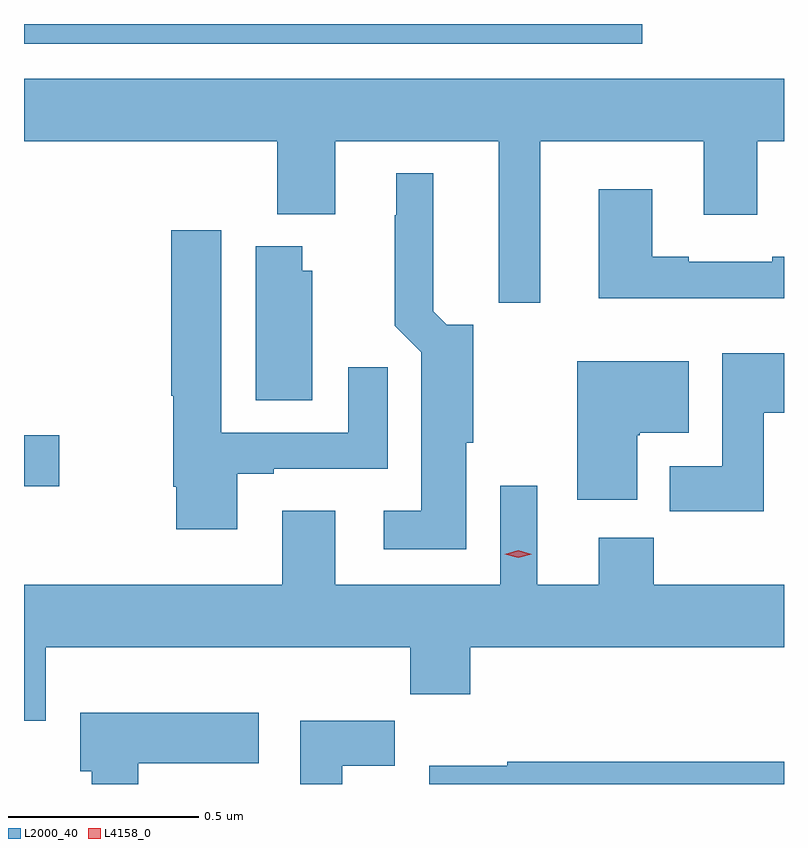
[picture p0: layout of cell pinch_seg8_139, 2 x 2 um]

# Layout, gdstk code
import gdstk
lib = gdstk.Library(unit=1e-6, precision=1e-09)
def R(c, l, rs):  # rectangles x0, y0, x1, y1
    for r in rs: c.add(gdstk.rectangle(r[:2], r[2:], *l))
def P(c, l, *ps):  # polygons
    for p in ps: c.add(gdstk.Polygon(p, *l))
L2000_40 = (2000, 40)
L4158_0 = (4158, 0)

pinch_seg8_139 = lib.new_cell('pinch_seg8_139')
R(pinch_seg8_139, L2000_40, [(809.662,1136.903,809.755,1137.038), (809.662,1138.068,811.289,1138.12)])
P(pinch_seg8_139, L2000_40, [(811.021,1137.812),(811.451,1137.812),(811.451,1137.618),(811.591,1137.618),(811.591,1137.812),(811.662,1137.812),(811.662,1137.976),(809.662,1137.976),(809.662,1137.812),(810.329,1137.812),(810.329,1137.62),(810.481,1137.62),(810.481,1137.812),(810.911,1137.812),(810.911,1137.387),(811.021,1137.387)],
  [(810.826,1137.018),(810.844,1137.018),(810.844,1137.328),(810.774,1137.328),(810.739,1137.364),(810.739,1137.727),(810.641,1137.727),(810.641,1137.617),(810.637,1137.617),(810.637,1137.326),(810.707,1137.256),(810.707,1136.839),(810.609,1136.839),(810.609,1136.738),(810.826,1136.738)],
  [(811.662,1137.508),(811.631,1137.508),(811.631,1137.495),(811.411,1137.495),(811.411,1137.508),(811.315,1137.508),(811.315,1137.685),(811.175,1137.685),(811.175,1137.398),(811.662,1137.398)],
  [(810.223,1136.937),(810.319,1136.937),(810.319,1136.949),(810.619,1136.949),(810.619,1137.217),(810.515,1137.217),(810.515,1137.045),(810.181,1137.045),(810.181,1137.577),(810.05,1137.577),(810.05,1137.142),(810.055,1137.142),(810.055,1136.902),(810.062,1136.902),(810.062,1136.79),(810.223,1136.79)],
  [(810.421,1137.471),(810.394,1137.471),(810.394,1137.535),(810.272,1137.535),(810.272,1137.13),(810.421,1137.13)],
  [(811.609,1137.097),(811.662,1137.097),(811.662,1137.253),(811.499,1137.253),(811.499,1136.956),(811.361,1136.956),(811.361,1136.838),(811.609,1136.838)],
  [(811.276,1137.038),(811.282,1137.038),(811.282,1137.044),(811.411,1137.044),(811.411,1137.232),(811.118,1137.232),(811.118,1136.868),(811.276,1136.868)],
  [(809.719,1136.48),(810.679,1136.48),(810.679,1136.356),(810.836,1136.356),(810.836,1136.48),(811.662,1136.48),(811.662,1136.644),(811.319,1136.644),(811.319,1136.768),(811.175,1136.768),(811.175,1136.644),(811.012,1136.644),(811.012,1136.905),(810.915,1136.905),(810.915,1136.644),(810.481,1136.644),(810.481,1136.839),(810.341,1136.839),(810.341,1136.644),(809.662,1136.644),(809.662,1136.286),(809.719,1136.286)],
  [(809.962,1136.174),(810.28,1136.174),(810.28,1136.308),(809.81,1136.308),(809.81,1136.154),(809.84,1136.154),(809.84,1136.12),(809.962,1136.12)],
  [(810.499,1136.168),(810.638,1136.168),(810.638,1136.287),(810.389,1136.287),(810.389,1136.12),(810.499,1136.12)],
  [(811.662,1136.179),(810.934,1136.179),(810.934,1136.168),(810.728,1136.168),(810.728,1136.12),(811.662,1136.12)])
P(pinch_seg8_139, L4158_0, [(810.962,1136.715),(810.927,1136.725),(810.927,1136.725),(810.927,1136.725),(810.962,1136.735),(810.998,1136.725),(810.998,1136.725),(810.998,1136.725)])

lib.write_gds('pinch_seg8_139.gds')
